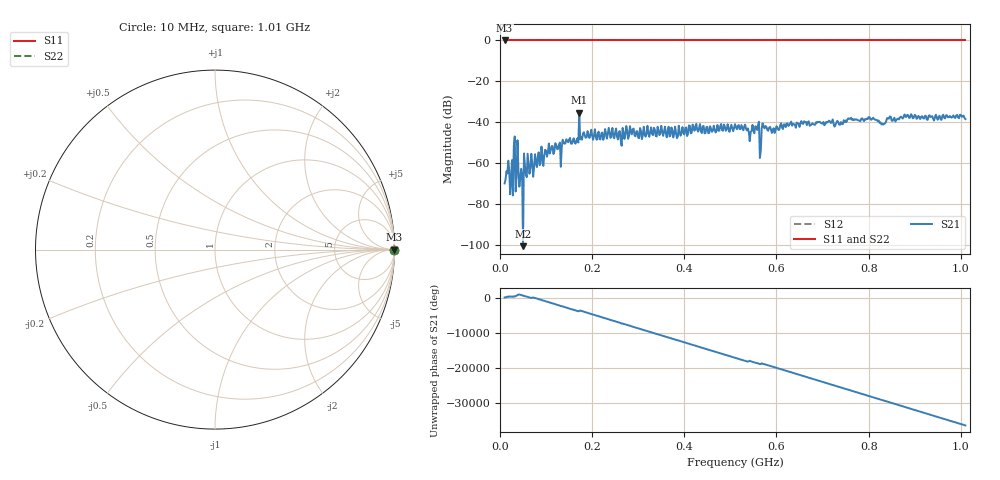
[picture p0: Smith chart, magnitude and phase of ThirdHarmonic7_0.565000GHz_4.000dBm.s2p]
! 8/17/2025 5:21:50 PM
! C:\ANRITSUVNA\TEMP\TEMP.S2P
! CHANNEL.1
! TR.MEASUREMENT
! RAW.DATA
! RF.CORRECTION.OFF
! AVERAGING.OFF
! IF.BANDWIDTH: 5KHZ
! SWEEPTYPE:  FREQ.SWEEP(Linear)
! Reference Plane Port Info
! PORT:  PORT1  PORT2
! DISTANCE:  0  m  0  m
! TIME:  0  s  0  s
! PHASE.OFFSET:  0  deg.  0  deg.
! LOSS:  0  dB  0  dB
! REF.LOSS:  0  dB  0  dB
! REF.FREQ:  0  Hz  0  Hz
! Power Info
! POWER:  -20  dBm  -20  dBm
! EFF.POWER:  -20  dBm  -20  dBm
! SOURCE.ATTEN:  0  dB  0  dB
! TEST.ATTEN:  0  dB  0  dB
# GHZ S RI R 50.0
! FREQ.GHZ  S11RE  S11IM  S21RE  S21IM  S12RE  S12IM  S22RE  S22IM
!; PortSelection: Port_12
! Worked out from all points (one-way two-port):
!   501 points, 10 MHz to 1.01 GHz, reference 50 ohm
!   highest |S21| = -35.28 dB at 172 MHz (marker M1); lowest = -100.6 dB at 50 MHz (marker M2)
!   lowest |S11| = 0.0 dB at 10 MHz (marker M3)
!   |S11| at or under -10 dB: nowhere
!   |S22| runs from 0.0 to 0.0 dB; largest |S21 - S12| = 1
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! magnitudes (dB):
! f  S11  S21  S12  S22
! 10 MHz  0.0  -70.0  0.0  0.0
! 16 MHz  0.0  -65.0  0.0  0.0
! 24 MHz  0.0  -68.1  0.0  0.0
! 28 MHz  0.0  -75.8  0.0  0.0
! 32 MHz  0.0  -47.0  0.0  0.0
! 34 MHz  0.0  -73.9  0.0  0.0
! 38 MHz  0.0  -48.8  0.0  0.0
! 42 MHz  0.0  -71.5  0.0  0.0
! 46 MHz  0.0  -62.8  0.0  0.0
! 50 MHz  0.0  -100.6  0.0  0.0
! 54 MHz  0.0  -60.6  0.0  0.0
! 56 MHz  0.0  -65.3  0.0  0.0
! 172 MHz  0.0  -35.3  0.0  0.0
! 178 MHz  0.0  -48.5  0.0  0.0
! 344 MHz  0.0  -43.8  0.0  0.0
! 510 MHz  0.0  -41.0  0.0  0.0
! 558 MHz  0.0  -43.8  0.0  0.0
! 568 MHz  0.0  -43.0  0.0  0.0
! 574 MHz  0.0  -43.0  0.0  0.0
! 678 MHz  0.0  -40.5  0.0  0.0
! 844 MHz  0.0  -38.3  0.0  0.0
! 1.01 GHz  0.0  -38.5  0.0  0.0
